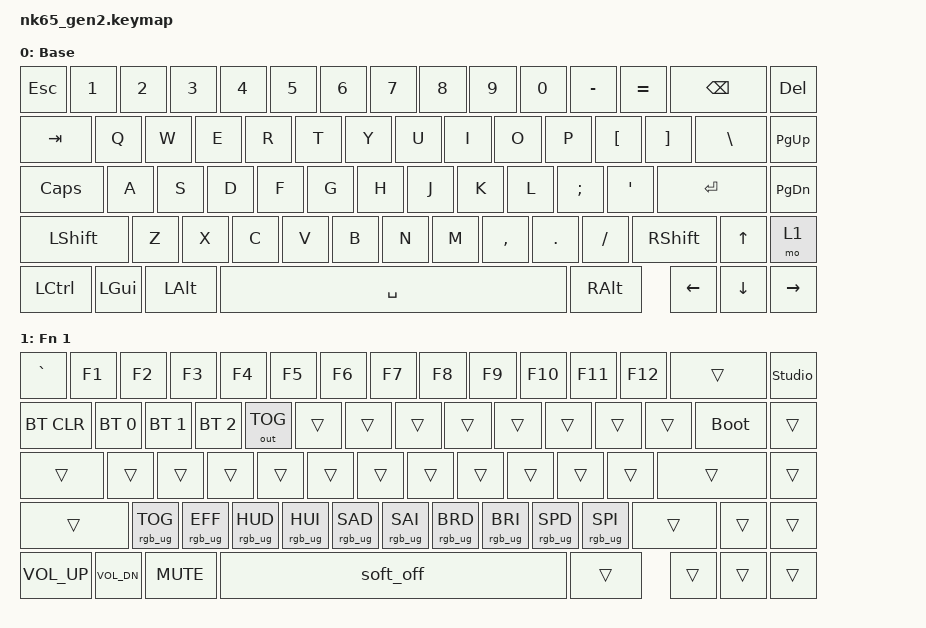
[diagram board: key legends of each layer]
/*
 * Copyright (c) 2026 Yiancar
 *
 * SPDX-License-Identifier: MIT
 */

#include <behaviors.dtsi>
#include <dt-bindings/zmk/keys.h>
#include <dt-bindings/zmk/bt.h>
#include <dt-bindings/zmk/outputs.h>
#include <dt-bindings/zmk/rgb.h>
#include <dt-bindings/zmk/ext_power.h>

/ {
    keymap {
        compatible = "zmk,keymap";

        default_layer {
            display-name = "Base";
            bindings = <
                &kp ESC    &kp N1    &kp N2    &kp N3    &kp N4    &kp N5    &kp N6    &kp N7    &kp N8    &kp N9    &kp N0    &kp MINUS &kp EQUAL &kp BSPC  &kp DEL
                &kp TAB    &kp Q     &kp W     &kp E     &kp R     &kp T     &kp Y     &kp U     &kp I     &kp O     &kp P     &kp LBKT  &kp RBKT  &kp BSLH  &kp PG_UP
                &kp CAPS   &kp A     &kp S     &kp D     &kp F     &kp G     &kp H     &kp J     &kp K     &kp L     &kp SEMI  &kp APOS            &kp ENTER &kp PG_DN
                &kp LSHFT            &kp Z     &kp X     &kp C     &kp V     &kp B     &kp N     &kp M     &kp COMMA &kp DOT   &kp SLASH &kp RSHFT &kp UP    &mo 1
                &kp LCTRL  &kp LGUI  &kp LALT                                &kp SPACE                               &kp RALT            &kp LEFT  &kp DOWN  &kp RIGHT
            >;
        };

        fn1_layer {
            display-name = "Fn 1";
            bindings = <
                &kp GRAVE       &kp F1          &kp F2          &kp F3          &kp F4          &kp F5          &kp F6          &kp F7          &kp F8          &kp F9          &kp F10         &kp F11             &kp F12   &trans      &studio_unlock
                &bt BT_CLR      &bt BT_SEL 0    &bt BT_SEL 1    &bt BT_SEL 2    &out OUT_TOG    &trans          &trans          &trans          &trans          &trans          &trans          &trans              &trans    &bootloader &trans
                &trans          &trans          &trans          &trans          &trans          &trans          &trans          &trans          &trans          &trans          &trans          &trans                        &trans      &trans
                &trans                          &rgb_ug RGB_TOG &rgb_ug RGB_EFF &rgb_ug RGB_HUD &rgb_ug RGB_HUI &rgb_ug RGB_SAD &rgb_ug RGB_SAI &rgb_ug RGB_BRD &rgb_ug RGB_BRI &rgb_ug RGB_SPD &rgb_ug RGB_SPI     &trans    &trans      &trans
                &kp C_VOL_UP    &kp C_VOL_DN    &kp C_MUTE                                                      &soft_off                                                       &trans                              &trans    &trans      &trans
            >;
        };

        extra1 {
            status = "reserved";
        };

        extra2 {
            status = "reserved";
        };
    };
};
